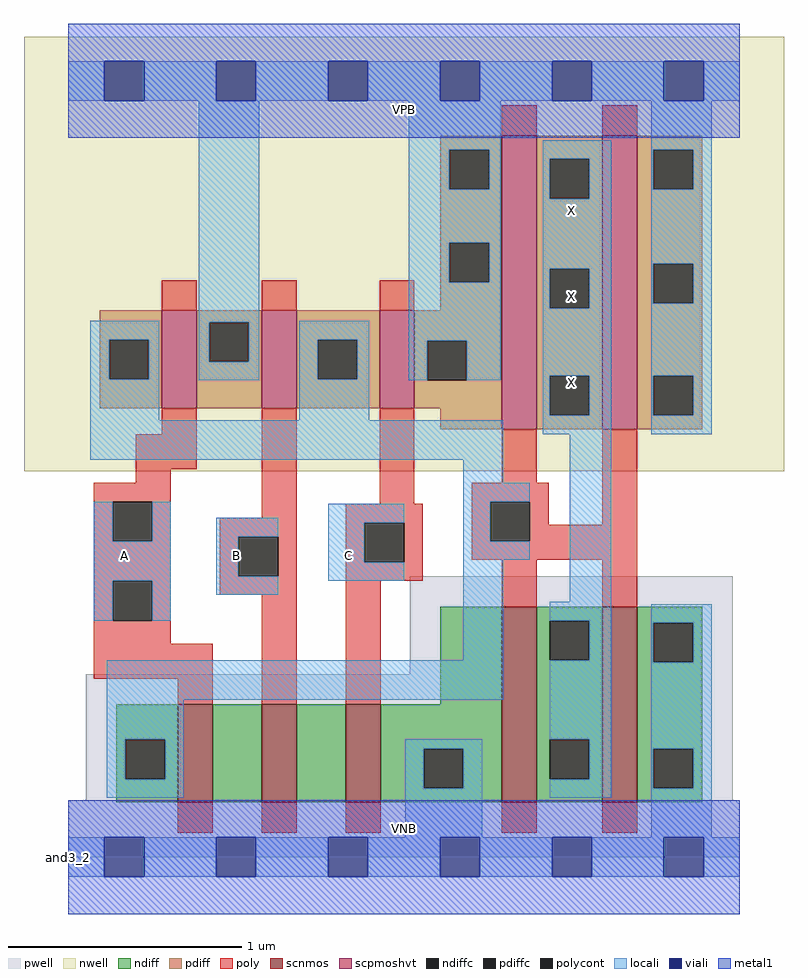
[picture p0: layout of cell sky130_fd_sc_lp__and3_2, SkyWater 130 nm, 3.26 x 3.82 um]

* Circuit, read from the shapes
.subckt sky130_fd_sc_lp__and3_2 A B C VGND VNB VPB VPWR X
XM1 n1 A n2 VNB sky130_fd_pr__nfet_01v8 w=0.42 l=0.15
XM2 n3 B n1 VNB sky130_fd_pr__nfet_01v8 w=0.42 l=0.15
XM3 VGND C n3 VNB sky130_fd_pr__nfet_01v8 w=0.42 l=0.15
XM4 X n2 VGND VNB sky130_fd_pr__nfet_01v8 w=0.84 l=0.15 m=2
XM5 VPWR A n2 VPB sky130_fd_pr__pfet_01v8_hvt w=0.42 l=0.15
XM6 n2 B VPWR VPB sky130_fd_pr__pfet_01v8_hvt w=0.42 l=0.15
XM7 VPWR C n2 VPB sky130_fd_pr__pfet_01v8_hvt w=0.42 l=0.15
XM8 X n2 VPWR VPB sky130_fd_pr__pfet_01v8_hvt w=1.26 l=0.15 m=2
.ends

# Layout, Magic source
magic
tech sky130A
magscale 1 2
<< nwell >>
rect -38 331 614 704
<< pwell >>
rect 293 157 570 241
rect 15 49 570 157
rect 0 0 576 49
<< scnmos >>
rect 94 47 124 131
rect 166 47 196 131
rect 238 47 268 131
rect 372 47 402 215
rect 458 47 488 215
<< scpmoshvt >>
rect 80 385 110 469
rect 166 385 196 469
rect 267 385 297 469
rect 372 367 402 619
rect 458 367 488 619
<< ndiff >>
rect 319 131 372 215
rect 41 101 94 131
rect 41 67 49 101
rect 83 67 94 101
rect 41 47 94 67
rect 124 47 166 131
rect 196 47 238 131
rect 268 93 372 131
rect 268 59 305 93
rect 339 59 372 93
rect 268 47 372 59
rect 402 203 458 215
rect 402 169 413 203
rect 447 169 458 203
rect 402 101 458 169
rect 402 67 413 101
rect 447 67 458 101
rect 402 47 458 67
rect 488 201 544 215
rect 488 167 502 201
rect 536 167 544 201
rect 488 93 544 167
rect 488 59 502 93
rect 536 59 544 93
rect 488 47 544 59
<< pdiff >>
rect 319 607 372 619
rect 319 573 327 607
rect 361 573 372 607
rect 319 527 372 573
rect 319 493 327 527
rect 361 493 372 527
rect 319 469 372 493
rect 27 444 80 469
rect 27 410 35 444
rect 69 410 80 444
rect 27 385 80 410
rect 110 459 166 469
rect 110 425 121 459
rect 155 425 166 459
rect 110 385 166 425
rect 196 444 267 469
rect 196 410 214 444
rect 248 410 267 444
rect 196 385 267 410
rect 297 443 372 469
rect 297 409 308 443
rect 342 409 372 443
rect 297 385 372 409
rect 319 367 372 385
rect 402 599 458 619
rect 402 565 413 599
rect 447 565 458 599
rect 402 505 458 565
rect 402 471 413 505
rect 447 471 458 505
rect 402 413 458 471
rect 402 379 413 413
rect 447 379 458 413
rect 402 367 458 379
rect 488 607 544 619
rect 488 573 502 607
rect 536 573 544 607
rect 488 509 544 573
rect 488 475 502 509
rect 536 475 544 509
rect 488 413 544 475
rect 488 379 502 413
rect 536 379 544 413
rect 488 367 544 379
<< ndiffc >>
rect 49 67 83 101
rect 305 59 339 93
rect 413 169 447 203
rect 413 67 447 101
rect 502 167 536 201
rect 502 59 536 93
<< pdiffc >>
rect 327 573 361 607
rect 327 493 361 527
rect 35 410 69 444
rect 121 425 155 459
rect 214 410 248 444
rect 308 409 342 443
rect 413 565 447 599
rect 413 471 447 505
rect 413 379 447 413
rect 502 573 536 607
rect 502 475 536 509
rect 502 379 536 413
<< poly >>
rect 372 619 402 645
rect 458 619 488 645
rect 80 469 110 495
rect 166 469 196 495
rect 267 469 297 495
rect 80 363 110 385
rect 58 333 110 363
rect 58 321 88 333
rect 22 305 88 321
rect 22 271 38 305
rect 72 271 88 305
rect 166 291 196 385
rect 267 303 297 385
rect 372 321 402 367
rect 346 305 412 321
rect 22 237 88 271
rect 22 203 38 237
rect 72 203 88 237
rect 130 275 196 291
rect 130 241 146 275
rect 180 241 196 275
rect 130 225 196 241
rect 22 183 88 203
rect 22 153 124 183
rect 94 131 124 153
rect 166 131 196 225
rect 238 287 304 303
rect 238 253 254 287
rect 288 253 304 287
rect 346 271 362 305
rect 396 285 412 305
rect 458 285 488 367
rect 396 271 488 285
rect 346 255 488 271
rect 238 237 304 253
rect 238 131 268 237
rect 372 215 402 255
rect 458 215 488 255
rect 94 21 124 47
rect 166 21 196 47
rect 238 21 268 47
rect 372 21 402 47
rect 458 21 488 47
<< polycont >>
rect 38 271 72 305
rect 38 203 72 237
rect 146 241 180 275
rect 254 253 288 287
rect 362 271 396 305
<< locali >>
rect 0 649 31 683
rect 65 649 127 683
rect 161 649 223 683
rect 257 649 319 683
rect 353 649 415 683
rect 449 649 511 683
rect 545 649 576 683
rect 19 444 78 460
rect 19 410 35 444
rect 69 410 78 444
rect 19 375 78 410
rect 112 459 164 649
rect 292 607 371 649
rect 292 573 327 607
rect 361 573 371 607
rect 292 527 371 573
rect 292 493 327 527
rect 361 493 371 527
rect 112 425 121 459
rect 155 425 164 459
rect 112 409 164 425
rect 198 444 258 460
rect 198 410 214 444
rect 248 410 258 444
rect 198 375 258 410
rect 292 443 371 493
rect 292 409 308 443
rect 342 409 371 443
rect 407 599 466 615
rect 407 565 413 599
rect 447 565 466 599
rect 407 505 466 565
rect 407 471 413 505
rect 447 471 466 505
rect 407 413 466 471
rect 407 379 413 413
rect 447 379 466 413
rect 19 341 373 375
rect 407 363 466 379
rect 500 607 552 649
rect 500 573 502 607
rect 536 573 552 607
rect 500 509 552 573
rect 500 475 502 509
rect 536 475 552 509
rect 500 413 552 475
rect 500 379 502 413
rect 536 379 552 413
rect 500 363 552 379
rect 339 321 373 341
rect 339 305 396 321
rect 22 271 38 305
rect 72 271 88 305
rect 22 237 88 271
rect 22 203 38 237
rect 72 203 88 237
rect 127 275 180 291
rect 127 241 146 275
rect 127 225 180 241
rect 223 287 288 303
rect 223 253 254 287
rect 223 237 288 253
rect 339 271 362 305
rect 339 255 396 271
rect 339 169 373 255
rect 430 219 466 363
rect 33 135 373 169
rect 413 203 466 219
rect 447 169 466 203
rect 33 101 99 135
rect 413 101 466 169
rect 33 67 49 101
rect 83 67 99 101
rect 33 51 99 67
rect 289 93 355 101
rect 289 59 305 93
rect 339 59 355 93
rect 289 17 355 59
rect 447 67 466 101
rect 413 51 466 67
rect 500 201 552 217
rect 500 167 502 201
rect 536 167 552 201
rect 500 93 552 167
rect 500 59 502 93
rect 536 59 552 93
rect 500 17 552 59
rect 0 -17 31 17
rect 65 -17 127 17
rect 161 -17 223 17
rect 257 -17 319 17
rect 353 -17 415 17
rect 449 -17 511 17
rect 545 -17 576 17
<< viali >>
rect 31 649 65 683
rect 127 649 161 683
rect 223 649 257 683
rect 319 649 353 683
rect 415 649 449 683
rect 511 649 545 683
rect 31 -17 65 17
rect 127 -17 161 17
rect 223 -17 257 17
rect 319 -17 353 17
rect 415 -17 449 17
rect 511 -17 545 17
<< metal1 >>
rect 0 683 576 715
rect 0 649 31 683
rect 65 649 127 683
rect 161 649 223 683
rect 257 649 319 683
rect 353 649 415 683
rect 449 649 511 683
rect 545 649 576 683
rect 0 617 576 649
rect 0 17 576 49
rect 0 -17 31 17
rect 65 -17 127 17
rect 161 -17 223 17
rect 257 -17 319 17
rect 353 -17 415 17
rect 449 -17 511 17
rect 545 -17 576 17
rect 0 -49 576 -17
<< labels >>
flabel pwell s 0 0 576 49 0 FreeSans 200 0 0 0 VNB
port 5 nsew ground bidirectional
flabel nwell s 0 617 576 666 0 FreeSans 200 0 0 0 VPB
port 6 nsew power bidirectional
rlabel comment s 0 0 0 0 4 and3_2
flabel metal1 s 0 617 576 666 0 FreeSans 340 0 0 0 VPWR
port 7 nsew power bidirectional
flabel metal1 s 0 0 576 49 0 FreeSans 340 0 0 0 VGND
port 4 nsew ground bidirectional
flabel locali s 415 390 449 424 0 FreeSans 340 0 0 0 X
port 8 nsew signal output
flabel locali s 415 464 449 498 0 FreeSans 340 0 0 0 X
port 8 nsew signal output
flabel locali s 415 538 449 572 0 FreeSans 340 0 0 0 X
port 8 nsew signal output
flabel locali s 127 242 161 276 0 FreeSans 340 0 0 0 B
port 2 nsew signal input
flabel locali s 223 242 257 276 0 FreeSans 340 0 0 0 C
port 3 nsew signal input
flabel locali s 31 242 65 276 0 FreeSans 340 0 0 0 A
port 1 nsew signal input
<< properties >>
string LEFsite unit
string LEFclass CORE
string FIXED_BBOX 0 0 576 666
string GDS_FILE $PDKPATH/libs.ref/sky130_fd_sc_lp/gds/sky130_fd_sc_lp.gds
string LEFsymmetry X Y R90
string GDS_END 5107638
string GDS_START 5101942
<< end >>
